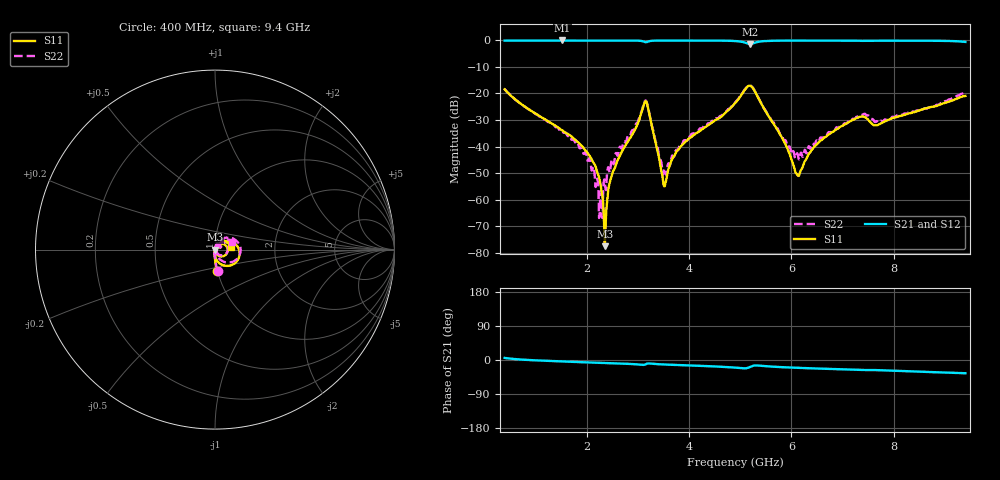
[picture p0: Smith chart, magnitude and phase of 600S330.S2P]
!  American Technical Ceramics  Date:  12/2/2005
!  One Norden Lane
!  Huntington Station,  NY.  11746-2102
!  Tel:  (631) 622-4700  Fax:  (631) 622-4748
!  Part Number  600S330  Mounting Orientation: Horizontal
!  Description: Ultra Low ESR Microwave capacitors
!  Application: Coupling, Bypass, Tuning, DC Block
!  Filters, Matching
# GHZ S DB R 50
! Freq  |S11|  S11 Ph  |S21|  S21 Ph  |S12|  S12 Ph  |S22|  S22 Ph
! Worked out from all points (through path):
!   801 points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, 400 MHz to 9.4 GHz, reference 50 ohm
!   highest |S21| = -0.01 dB at 1.525 GHz (marker M1); lowest = -1.3 dB at 5.193 GHz (marker M2)
!   group delay of S21, straight-line fit = 10.7 ps
!   lowest |S11| = -77.5 dB at 2.358 GHz (marker M3), VSWR 1.00, Z = 50 + j0.00916 ohm
!   |S11| at or under -10 dB: start of sweep to end of sweep
!   |S22| runs from -66.9 to -16.9 dB; largest |S21 - S12| = 0.0029
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0.4  -18.42 -84.7  -0.08 5.6  -0.06 5.6  -18.33 -83.2
1.525  -33.91 -96.3  -0.01 -3.9  -0.01 -4.0  -33.96 -93.5
1.908  -39.82 -99.2  -0.01 -5.8  0.00 -5.8  -40.36 -94.7
2.11  -45.27 -101.7  -0.01 -6.8  0.00 -6.8  -48.98 -82.3
2.279  -54.86 -105.6  -0.02 -7.5  -0.01 -7.5  -56.98 -15.0
2.358  -77.55 136.3  -0.02 -7.9  -0.01 -7.9  -53.13 37.1
2.526  -49.05 73.7  -0.02 -8.7  -0.01 -8.7  -46.64 65.5
3.134  -23.41 13.9  -0.55 -12.6  -0.54 -12.6  -23.05 23.3
3.201  -25.41 -45.9  -0.44 -9.1  -0.43 -9.2  -25.23 -33.8
3.404  -43.07 -74.8  -0.05 -11.1  -0.05 -11.1  -42.04 -60.0
3.528  -54.96 4.3  -0.04 -11.9  -0.03 -12.0  -48.25 7.9
3.674  -44.62 58.9  -0.03 -12.7  -0.03 -12.8  -43.32 60.5
3.865  -39.51 64.8  -0.03 -13.7  -0.02 -13.7  -39.28 75.1
4.9  -23.72 44.0  -0.22 -20.1  -0.22 -20.2  -23.49 58.2
5.193  -17.06 -20.7  -1.33 -18.4  -1.33 -18.4  -16.93 -5.4
5.834  -37.21 -94.0  -0.07 -19.0  -0.07 -19.1  -36.61 -69.7
6.115  -50.59 -33.4  -0.05 -20.6  -0.05 -20.7  -42.51 -15.3
6.408  -41.05 44.1  -0.05 -22.0  -0.05 -22.1  -38.96 39.1
7.296  -29.14 40.4  -0.11 -26.2  -0.11 -26.3  -28.75 44.3
7.645  -32.01 32.9  -0.13 -26.6  -0.14 -26.7  -30.69 30.5
7.904  -29.85 47.4  -0.07 -27.8  -0.08 -27.9  -29.25 43.4
9.4  -20.92 9.0  -0.56 -34.8  -0.57 -34.9  -19.47 24.0
